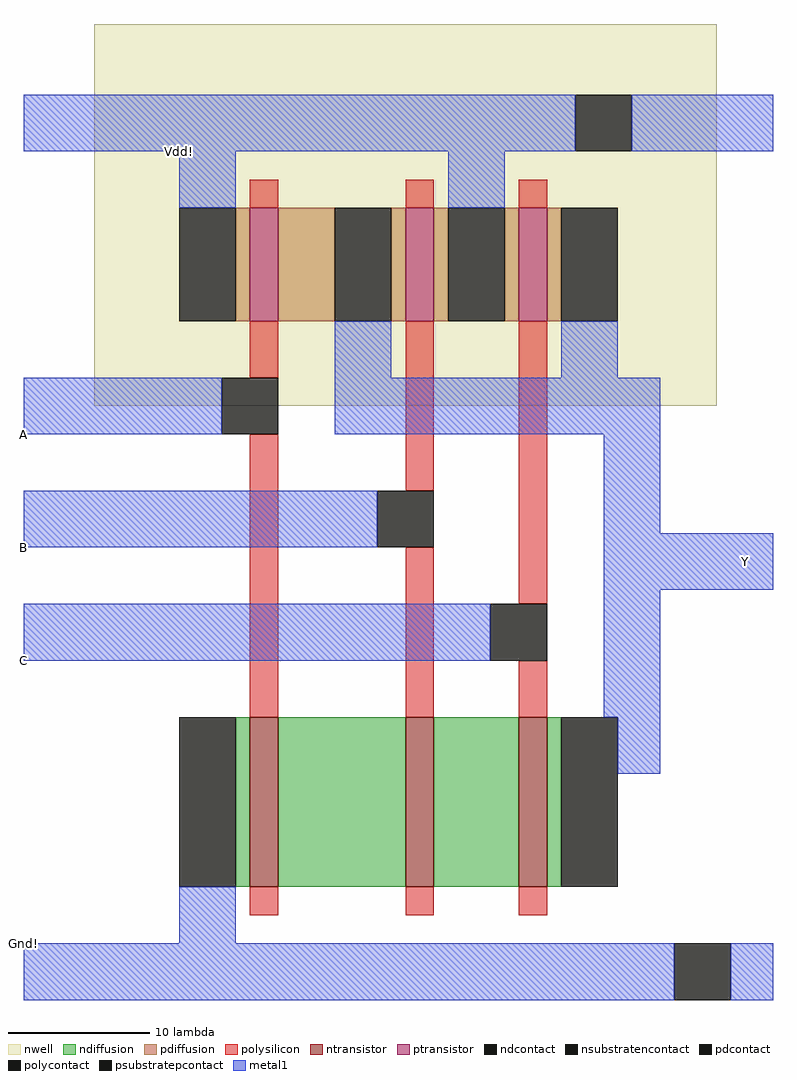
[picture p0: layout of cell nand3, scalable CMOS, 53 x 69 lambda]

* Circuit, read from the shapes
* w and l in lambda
.subckt nand3 A B C Gnd! Vdd! Y
M1 n1 A Gnd! Gnd! nfet w=12 l=2
M2 n2 B n1 Gnd! nfet w=12 l=2
M3 Y C n2 Gnd! nfet w=12 l=2
M4 Y A Vdd! Vdd! pfet w=8 l=2
M5 Vdd! B Y Vdd! pfet w=8 l=2
M6 Y C Vdd! Vdd! pfet w=8 l=2
.ends

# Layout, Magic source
magic
tech scmos
<< nwell >>
rect -12 -4 32 23
<< ntransistor >>
rect -1 -38 1 -26
rect 10 -38 12 -26
rect 18 -38 20 -26
<< ptransistor >>
rect -1 2 1 10
rect 10 2 12 10
rect 18 2 20 10
<< ndiffusion >>
rect -2 -38 -1 -26
rect 1 -38 10 -26
rect 12 -38 18 -26
rect 20 -38 21 -26
<< pdiffusion >>
rect -2 2 -1 10
rect 1 2 5 10
rect 9 2 10 10
rect 12 2 13 10
rect 17 2 18 10
rect 20 2 21 10
<< ndcontact >>
rect -6 -38 -2 -26
rect 21 -38 25 -26
<< pdcontact >>
rect -6 2 -2 10
rect 5 2 9 10
rect 13 2 17 10
rect 21 2 25 10
<< psubstratepcontact >>
rect 29 -46 33 -42
<< nsubstratencontact >>
rect 22 14 26 18
<< polysilicon >>
rect -1 10 1 12
rect 10 10 12 12
rect 18 10 20 12
rect -1 -2 1 2
rect -1 -26 1 -6
rect 10 -10 12 2
rect 10 -26 12 -14
rect 18 -18 20 2
rect 18 -26 20 -22
rect -1 -40 1 -38
rect 10 -40 12 -38
rect 18 -40 20 -38
<< polycontact >>
rect -3 -6 1 -2
rect 8 -14 12 -10
rect 16 -22 20 -18
<< metal1 >>
rect -17 14 22 18
rect 26 14 36 18
rect -6 10 -2 14
rect 13 10 17 14
rect 5 -2 9 2
rect 21 -2 25 2
rect -17 -6 -3 -2
rect 5 -6 28 -2
rect -17 -14 8 -10
rect 24 -13 28 -6
rect 24 -17 36 -13
rect -17 -22 16 -18
rect 24 -26 28 -17
rect 25 -30 28 -26
rect -6 -42 -2 -38
rect -17 -46 29 -42
rect 33 -46 36 -42
<< labels >>
rlabel metal1 -17 -6 -17 -6 3 A
rlabel metal1 -17 -14 -17 -14 3 B
rlabel metal1 -17 -22 -17 -22 3 C
rlabel metal1 -6 14 -6 14 4 Vdd!
rlabel metal1 34 -15 34 -15 7 Y
rlabel metal1 -17 -42 -17 -42 2 Gnd!
<< end >>
